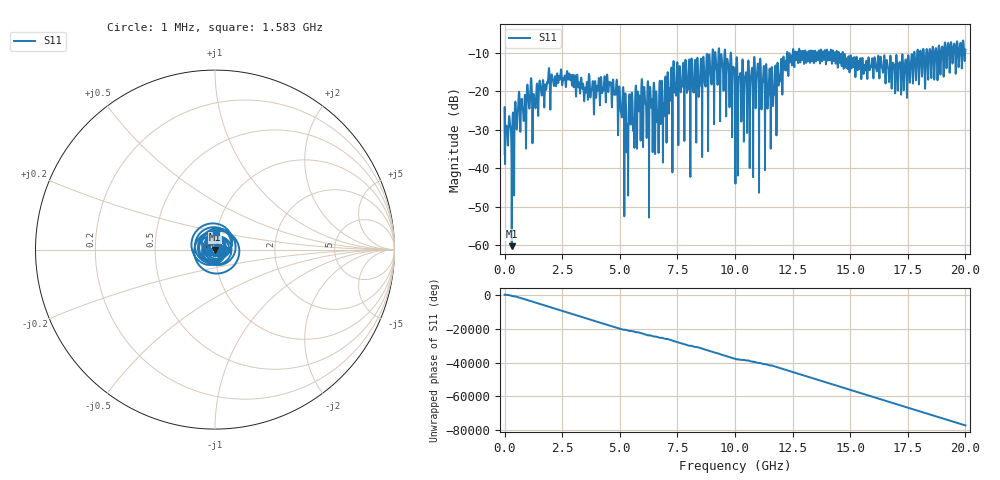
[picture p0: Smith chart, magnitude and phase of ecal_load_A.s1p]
! MS46122B
! 2250307/22442219
! 6/12/2025 7:34:18 AM
! C:\USERS\SPARKY\DOCUMENTS\VNA_DATA\JUNE12_2025\3.1 KELVIN\ECAL-LOAD.S1P
! CHANNEL.1
! TR.MEASUREMENT
! RAW.DATA
# GHZ S RI R 50.0
! FREQ.GHZ  S11RE  S11IM
!; PortSelection: Port_1
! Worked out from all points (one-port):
!   10001 points, 1 MHz to 20 GHz, reference 50 ohm
!   lowest |S11| = -60.3 dB at 311 MHz (marker M1), VSWR 1.00, Z = 50.1 + j0.0454 ohm
!   |S11| at or under -10 dB: start of sweep to 9.023 GHz; 9.824 GHz to 12.26 GHz (2.434 GHz wide, 22 % of centre); 14.68 GHz to 17.77 GHz (3.089 GHz wide, 19 % of centre) (the widest 3 of 49)
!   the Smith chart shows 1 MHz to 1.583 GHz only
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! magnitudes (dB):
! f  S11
! 1 MHz  -36.3
! 311 MHz  -60.3
! 549 MHz  -28.2
! 855 MHz  -23.8
! 1.071 GHz  -24.4
! 1.283 GHz  -21.7
! 1.859 GHz  -17.6
! 2.501 GHz  -18.5
! 3.805 GHz  -18.5
! 4.521 GHz  -18.7
! 5.001 GHz  -20.1
! 5.187 GHz  -29.4
! 5.283 GHz  -28.7
! 5.475 GHz  -28.4
! 5.663 GHz  -23.4
! 6.023 GHz  -25.6
! 6.609 GHz  -24.8
! 7.501 GHz  -12.6
! 9.225 GHz  -15.8
! 10 GHz  -18.1
! 10.2 GHz  -16.4
! 10.71 GHz  -15.4
! 10.91 GHz  -19.3
! 11.63 GHz  -17.1
! 12.5 GHz  -10.8
! 15 GHz  -11.5
! 17.5 GHz  -11.9
! 20 GHz  -9.2
